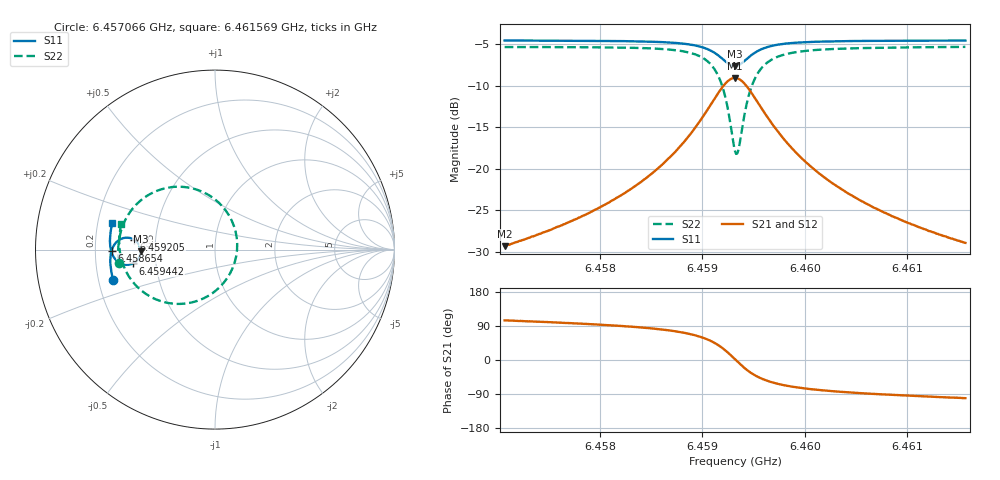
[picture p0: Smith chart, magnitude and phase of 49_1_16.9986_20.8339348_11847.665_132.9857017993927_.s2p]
#  HZ  S  RI  R  50.00
! Rohde & Schwarz Vector Network Analyzer
! Rohde-Schwarz,ZNB20-2Port,1311601062101988,3.16
! Created: UTC 3/20/2024, 10:54:13 PM
! freq[Hz]  re:S11  im:S11  re:S21  im:S21  re:S12  im:S12  re:S22  im:S22
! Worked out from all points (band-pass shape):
!   401 points, 6.457066 GHz to 6.461569 GHz, reference 50 ohm
!   highest |S21| = -9.06 dB at 6.459318 GHz (marker M1); lowest = -29.3 dB at 6.457066 GHz (marker M2)
!   |S21| within 3 dB of the highest: 6.459092 GHz to 6.459543 GHz (450.5 kHz wide, 0.00697 % of centre)
!   lowest |S11| = -7.7 dB at 6.459318 GHz (marker M3), VSWR 2.41, Z = 20.7 - j0.485 ohm
!   |S11| at or under -10 dB: nowhere
!   |S22| runs from -18.2 to -5.3 dB; largest |S21 - S12| = 0.014
!   S11 on the Smith chart (normalised r, x): 6.457066 GHz: 0.26, -0.13; 6.458654 GHz: 0.27, -0.00; 6.459205 GHz: 0.38, +0.05; 6.459442 GHz: 0.37, -0.07; 6.461569 GHz: 0.26, +0.12
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6.4570664e9  -0.568 -0.1667  -0.00863 0.0332  -0.00687 0.0332  -0.535 -0.0759
6.4578206e9  -0.5811 -0.1003  -0.0051 0.0516  -0.00256 0.0508  -0.5389 0.0137
6.4582259e9  -0.5836 -0.0594  0.000745 0.0707  0.00405 0.0693  -0.53 0.0791
6.4585749e9  -0.5794 -0.0171  0.0153 0.1007  0.0194 0.0979  -0.5028 0.159
6.4586537e9  -0.5765 -0.00608  0.0219 0.1107  0.0261 0.1074  -0.4904 0.1826
6.4588451e9  -0.5626 0.0248  0.0506 0.1428  0.0547 0.1376  -0.4364 0.2532
6.4589802e9  -0.5406 0.0491  0.0947 0.1713  0.0978 0.1646  -0.3551 0.3129
6.4591152e9  -0.4957 0.0665  0.1839 0.1874  0.1847 0.1802  -0.1922 0.3502
6.4592053e9  -0.4502 0.0552  0.2753 0.1548  0.2756 0.1489  -0.023 0.2963
6.4592728e9  -0.4208 0.0221  0.3362 0.0807  0.3387 0.0753  0.0929 0.1624
6.4593179e9  -0.414 -0.00969  0.3522 0.0113  0.356 0.00424  0.1236 0.0326
6.4593516e9  -0.4182 -0.0339  0.3457 -0.042  0.3497 -0.0514  0.1105 -0.0687
6.4593967e9  -0.4343 -0.0605  0.316 -0.1026  0.3184 -0.115  0.0501 -0.183
6.4594417e9  -0.4569 -0.0771  0.2728 -0.144  0.2719 -0.1576  -0.0375 -0.2579
6.4595318e9  -0.5011 -0.0842  0.1864 -0.1748  0.1801 -0.1866  -0.2096 -0.3026
6.4595993e9  -0.5257 -0.0768  0.1374 -0.1725  0.129 -0.1814  -0.3041 -0.2864
6.4596781e9  -0.5457 -0.0636  0.0972 -0.16  0.0884 -0.1663  -0.3792 -0.2508
6.4598357e9  -0.5676 -0.0358  0.0519 -0.1316  0.0439 -0.1342  -0.4601 -0.1772
6.4600721e9  -0.5806 -0.000368  0.0222 -0.0992  0.0164 -0.0996  -0.5081 -0.0936
6.4604098e9  -0.5852 0.0403  0.00611 -0.0718  0.00215 -0.0713  -0.5294 -0.0138
6.4608264e9  -0.5835 0.0826  -0.00152 -0.0529  -0.00442 -0.052  -0.5335 0.0543
6.4615693e9  -0.5718 0.1488  -0.00667 -0.0352  -0.00829 -0.0343  -0.5222 0.1433
